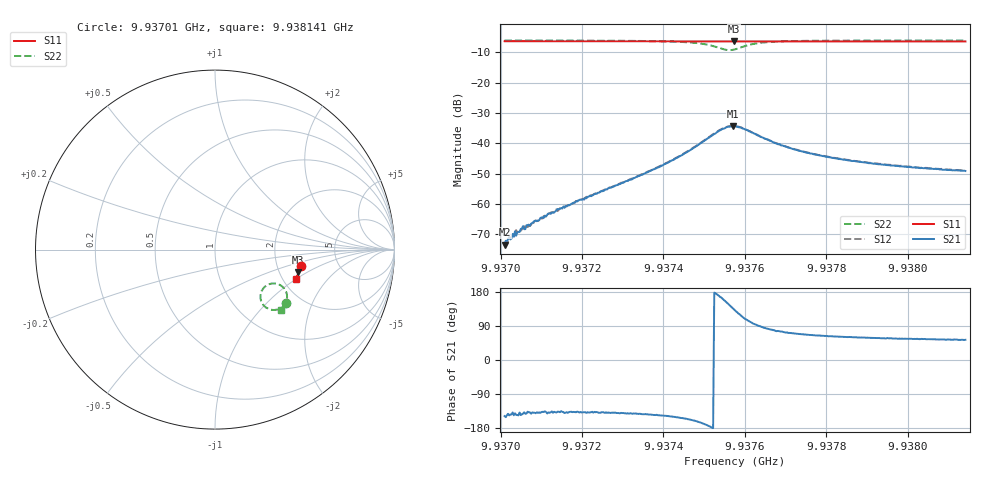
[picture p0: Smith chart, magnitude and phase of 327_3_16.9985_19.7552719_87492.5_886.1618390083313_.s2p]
#  HZ  S  RI  R  50.00
! Rohde & Schwarz Vector Network Analyzer
! Rohde-Schwarz,ZNB20-2Port,1311601062101988,3.16
! Created: UTC 3/20/2024, 11:06:46 PM
! freq[Hz]  re:S11  im:S11  re:S21  im:S21  re:S12  im:S12  re:S22  im:S22
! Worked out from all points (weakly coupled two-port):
!   401 points, 9.93701 GHz to 9.938141 GHz, reference 50 ohm
!   highest |S21| = -34.32 dB at 9.93757 GHz (marker M1); lowest = -73.4 dB at 9.93701 GHz (marker M2)
!   lowest |S11| = -6.4 dB at 9.937573 GHz (marker M3), VSWR 2.85, Z = 127 - j41.1 ohm
!   |S11| at or under -10 dB: nowhere
!   |S22| runs from -9.2 to -6.0 dB; largest |S21 - S12| = 0.00075
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9.9370101e9  0.4764 -0.0887  -0.000182 -0.000114  -0.000184 -8.25e-05  0.3983 -0.3001
9.9370327e9  0.4759 -0.0903  -0.000238 -0.000162  -0.000256 -0.000175  0.3969 -0.3017
9.937044e9  0.4758 -0.091  -0.000289 -0.000195  -0.000281 -0.000216  0.3962 -0.3025
9.9370497e9  0.4758 -0.0915  -0.000318 -0.000221  -0.000302 -0.000197  0.3958 -0.3029
9.9370836e9  0.4752 -0.0937  -0.000399 -0.000345  -0.000389 -0.000342  0.3932 -0.3053
9.9370978e9  0.4748 -0.0947  -0.000447 -0.000379  -0.000432 -0.000363  0.3923 -0.3063
9.9371176e9  0.4744 -0.0959  -0.00052 -0.000465  -0.000516 -0.000459  0.3908 -0.3082
9.9371996e9  0.4731 -0.1016  -0.000878 -0.000779  -0.000909 -0.000781  0.3836 -0.3142
9.9373891e9  0.469 -0.1143  -0.00335 -0.00227  -0.00347 -0.0023  0.3528 -0.3323
9.9374456e9  0.4677 -0.1182  -0.00571 -0.00288  -0.0059 -0.00283  0.3302 -0.3364
9.9375022e9  0.4657 -0.122  -0.011 -0.00202  -0.0113 -0.00185  0.286 -0.3239
9.9375418e9  0.4642 -0.1239  -0.0161 0.00434  -0.0164 0.00493  0.2531 -0.2657
9.9375701e9  0.4637 -0.1248  -0.014 0.0132  -0.0136 0.0137  0.2845 -0.2017
9.9375729e9  0.4636 -0.1247  -0.0133 0.0138  -0.0131 0.0145  0.2912 -0.1974
9.9375757e9  0.4637 -0.1251  -0.0125 0.0145  -0.012 0.015  0.2979 -0.1942
9.9375955e9  0.4639 -0.126  -0.00678 0.0162  -0.00635 0.0166  0.3447 -0.1902
9.9376351e9  0.4637 -0.1286  2.27e-05 0.0133  0.000529 0.0133  0.3922 -0.2267
9.9376889e9  0.463 -0.1325  0.00239 0.00893  0.0027 0.009  0.4016 -0.2659
9.9377652e9  0.4613 -0.138  0.00279 0.00617  0.00289 0.00613  0.3961 -0.2927
9.9378586e9  0.4591 -0.144  0.00256 0.00454  0.00266 0.00453  0.3877 -0.3096
9.9379547e9  0.4568 -0.1503  0.00237 0.00367  0.00246 0.00369  0.3801 -0.3205
9.9381414e9  0.4518 -0.1624  0.0021 0.00281  0.00218 0.00282  0.3672 -0.3355
